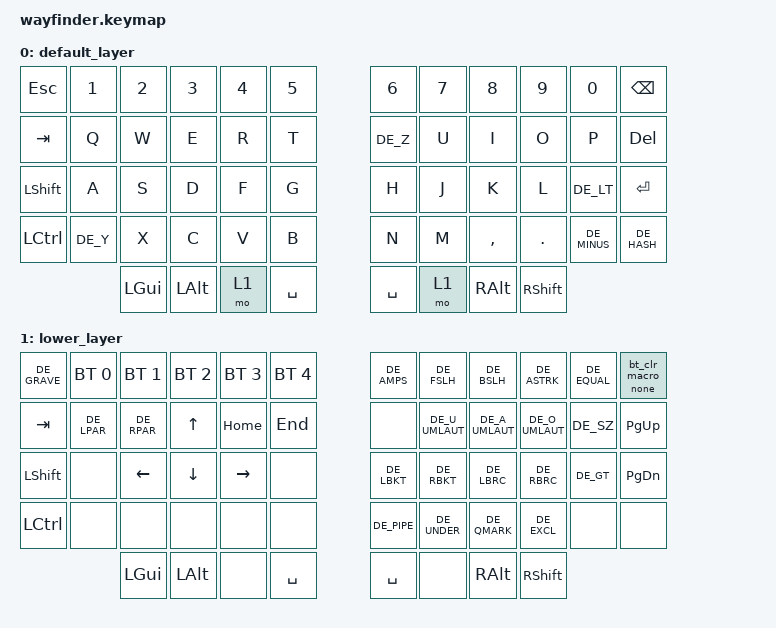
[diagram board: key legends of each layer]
#include <behaviors.dtsi>
#include <dt-bindings/zmk/keys.h>
#include <locale/keys_de.h>
#include <dt-bindings/zmk/bt.h>

/ {
        macros {
                bt_clr_macro: bt_clr_macro {
                        compatible = "zmk,behavior-macro";
                        #binding-cells = <0>;
                        bindings = <&bt BT_CLR>;
                };
        };

        behaviors {
                bt_clr_safe: bt_clr_safe {
                        compatible = "zmk,behavior-hold-tap";
                        #binding-cells = <2>;
                        flavor = "hold-preferred";
                        tapping-term-ms = <600>;
                        bindings = <&none>, <&bt_clr_macro>;
                };
        };

        keymap {
                compatible = "zmk,keymap";

                default_layer {
// ---------------------------------------------------------------------------------
// | ESC  |  1  |  2  |  3  |  4  |  5  |     |  6  |  7  |  8  |  9  |  0  | BKSP |
// | TAB  |  Q  |  W  |  E  |  R  |  T  |     | DE_Z|  U  |  I  |  O  |  P  | ENTF |
// | SHFT |  A  |  S  |  D  |  F  |  G  |     |  H  |  J  |  K  |  L  |  <  | ENT  |
// | CTRL |DE_Y |  X  |  C  |  V  |  B  |     |  N  |  M  |  ,  |  .  |  -  | APOS |
//              | GUI | ALT | LOW | SPC |     | SPC | LOW | ALT | SHFT|
                        bindings = <
   &kp ESC   &kp N1   &kp N2   &kp N3   &kp N4   &kp N5              &kp N6   &kp N7   &kp N8    &kp N9   &kp N0      &kp BSPC
   &kp TAB   &kp Q    &kp W    &kp E    &kp R    &kp T               &kp DE_Z &kp U    &kp I     &kp O    &kp P       &kp DEL
   &kp LSHFT &kp A    &kp S    &kp D    &kp F    &kp G               &kp H    &kp J    &kp K     &kp L    &kp DE_LT   &kp RET
   &kp LCTRL &kp DE_Y &kp X    &kp C    &kp V    &kp B               &kp N    &kp M    &kp COMMA &kp DOT  &kp DE_MINUS &kp DE_HASH
                      &kp LGUI &kp LALT &mo 1    &kp SPACE           &kp SPACE &mo 1   &kp RALT  &kp RSHFT
                        >;
                };
                lower_layer {
// ------------------------------------------------------------------------------------------------------------
// |   `   |  BT1  |  BT2  |  BT3  |  BT4  |  BT5  |          |   &   |   /   |   \   |   *   |   =   | BTCLR |
// |  TAB  |DE_LPAR|DE_RPAR| UARW  | HOME  |  End  |          |       |   ü   |   ä   |   ö   |   ß   | PG_UP |
// |  SHFT |       | LARW  | DARW  | RARW  |       |          |DE_LBKT|DE_RBKT|   {   |   }   |   >   | PG_DN |
// |  CTRL |       |       |       |       |       |          |   |   |   _   |   ?   |   !   |       |       |
//                 | GUI   | ALT   |       | SPC   |          | SPC   |       |  ALT  |  SHFT |
                        bindings = <
     &kp DE_GRAVE &bt BT_SEL 0 &bt BT_SEL 1 &bt BT_SEL 2 &bt BT_SEL 3 &bt BT_SEL 4         &kp DE_AMPS     &kp DE_FSLH     &kp DE_BSLH  &kp DE_ASTRK    &kp DE_EQUAL    &bt_clr_safe 0 0
     &kp TAB      &kp DE_LPAR  &kp DE_RPAR  &kp UP       &kp HOME     &kp END              &none           &kp DE_U_UMLAUT &kp DE_A_UMLAUT &kp DE_O_UMLAUT &kp DE_SZ       &kp PG_UP
     &kp LSHFT    &none        &kp LEFT     &kp DOWN     &kp RIGHT    &none                &kp DE_LBKT     &kp DE_RBKT     &kp DE_LBRC  &kp DE_RBRC     &kp DE_GT       &kp PG_DN
     &kp LCTRL    &none        &none        &none        &none        &none                &kp DE_PIPE     &kp DE_UNDER    &kp DE_QMARK &kp DE_EXCL     &none           &none
                               &kp LGUI     &kp LALT     &none        &kp SPACE            &kp SPACE       &none           &kp RALT     &kp RSHFT
                        >;
                };
        };
};
